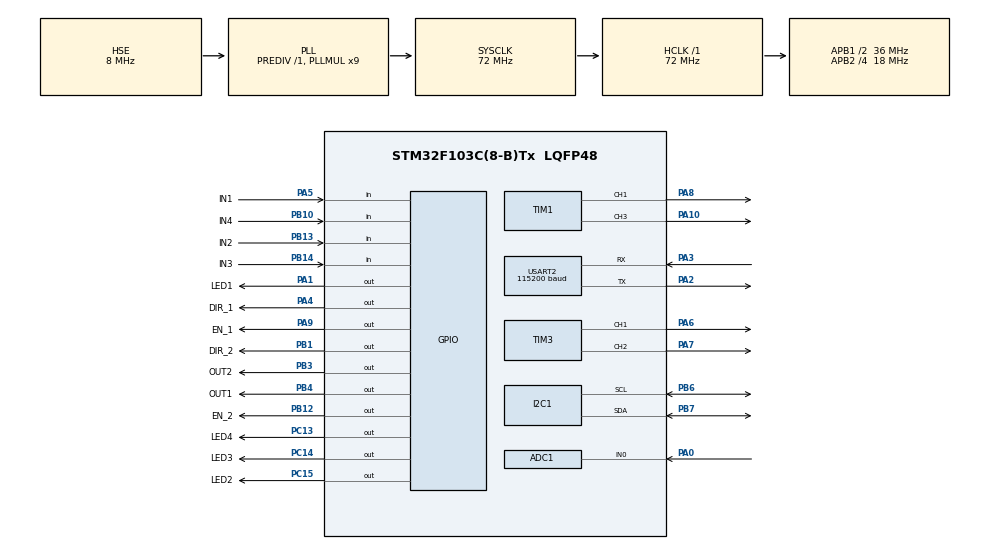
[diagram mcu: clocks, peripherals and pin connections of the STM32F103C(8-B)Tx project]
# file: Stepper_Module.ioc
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ADC1.Channel-3\#ChannelRegularConversion=ADC_CHANNEL_0
ADC1.NbrOfConversionFlag=1
ADC1.Rank-3\#ChannelRegularConversion=1
ADC1.SamplingTime-3\#ChannelRegularConversion=ADC_SAMPLETIME_1CYCLE_5
ADC1.master=1
FREERTOS.HEAP_NUMBER=4
FREERTOS.Tasks01=IOTask,24,128,StartIOTask,Default,NULL,Dynamic,NULL,NULL;UartTask,40,128,StartUartTask,Default,NULL,Dynamic,NULL,NULL;MotorTask,24,128,StartMotorTask,Default,NULL,Dynamic,NULL,NULL
FREERTOS.configTOTAL_HEAP_SIZE=3072
Mcu.Family=STM32F1
Mcu.Name=STM32F103C(8-B)Tx
Mcu.Package=LQFP48
NVIC.I2C1_ER_IRQn=true\:5\:0\:false\:false\:true\:true\:true\:true\:true
NVIC.I2C1_EV_IRQn=true\:5\:0\:false\:false\:true\:true\:true\:true\:true
NVIC.PriorityGroup=NVIC_PRIORITYGROUP_4
NVIC.RCC_IRQn=true\:5\:0\:false\:false\:true\:true\:true\:false\:true
NVIC.TIM1_BRK_IRQn=true\:5\:0\:false\:false\:true\:true\:true\:true\:true
NVIC.TIM1_CC_IRQn=true\:5\:0\:false\:false\:true\:true\:true\:true\:true
NVIC.TIM1_UP_IRQn=true\:5\:0\:false\:false\:true\:true\:true\:true\:true
NVIC.TIM2_IRQn=true\:5\:0\:false\:false\:true\:true\:true\:true\:true
NVIC.TIM3_IRQn=true\:5\:0\:false\:false\:true\:true\:true\:true\:true
NVIC.USART2_IRQn=true\:5\:0\:false\:false\:true\:true\:true\:true\:true
PA0-WKUP.Signal=ADCx_IN0
PA1.GPIO_Label=LED1
PA1.Signal=GPIO_Output
PA10.Signal=S_TIM1_CH3
PA13.Mode=Serial_Wire
PA13.Signal=SYS_JTMS-SWDIO
PA14.Mode=Serial_Wire
PA14.Signal=SYS_JTCK-SWCLK
PA2.Mode=Asynchronous
PA2.Signal=USART2_TX
PA3.Mode=Asynchronous
PA3.Signal=USART2_RX
PA4.GPIO_Label=DIR_1
PA4.Signal=GPIO_Output
PA5.GPIO_Label=IN1
PA5.Signal=GPIO_Input
PA6.Signal=S_TIM3_CH1
PA7.Signal=S_TIM3_CH2
PA8.Signal=S_TIM1_CH1
PA9.GPIO_Label=EN_1
PA9.Signal=GPIO_Output
PB1.GPIO_Label=DIR_2
PB1.Signal=GPIO_Output
PB10.GPIO_Label=IN4
PB10.Signal=GPIO_Input
PB12.GPIO_Label=EN_2
PB12.Signal=GPIO_Output
PB13.GPIO_Label=IN2
PB13.Signal=GPIO_Input
PB14.GPIO_Label=IN3
PB14.Signal=GPIO_Input
PB3.GPIO_Label=OUT2
PB3.Signal=GPIO_Output
PB4.GPIO_Label=OUT1
PB4.Signal=GPIO_Output
PB6.Mode=I2C
PB6.Signal=I2C1_SCL
PB7.Mode=I2C
PB7.Signal=I2C1_SDA
PC13-TAMPER-RTC.GPIO_Label=LED4
PC13-TAMPER-RTC.Signal=GPIO_Output
PC14-OSC32_IN.GPIO_Label=LED3
PC14-OSC32_IN.Signal=GPIO_Output
PC15-OSC32_OUT.GPIO_Label=LED2
PC15-OSC32_OUT.Signal=GPIO_Output
PD0-OSC_IN.Mode=HSE-External-Oscillator
PD0-OSC_IN.Signal=RCC_OSC_IN
PD1-OSC_OUT.Mode=HSE-External-Oscillator
PD1-OSC_OUT.Signal=RCC_OSC_OUT
ProjectManager.HeapSize=0x200
ProjectManager.StackSize=0x400
ProjectManager.TargetToolchain=STM32CubeIDE
RCC.AHBFreq_Value=72000000
RCC.APB1CLKDivider=RCC_HCLK_DIV2
RCC.APB1Freq_Value=36000000
RCC.APB1TimFreq_Value=72000000
RCC.APB2CLKDivider=RCC_HCLK_DIV4
RCC.APB2Freq_Value=18000000
RCC.APB2TimFreq_Value=36000000
RCC.HCLKFreq_Value=72000000
RCC.PLLMUL=RCC_PLL_MUL9
RCC.PLLSourceVirtual=RCC_PLLSOURCE_HSE
RCC.SYSCLKFreq_VALUE=72000000
RCC.SYSCLKSource=RCC_SYSCLKSOURCE_PLLCLK
RCC.USBFreq_Value=72000000
SH.ADCx_IN0.0=ADC1_IN0,IN0
SH.S_TIM1_CH1.0=TIM1_CH1,PWM Generation1 CH1
SH.S_TIM1_CH3.0=TIM1_CH3,PWM Generation3 CH3
SH.S_TIM3_CH1.0=TIM3_CH1,PWM Generation1 CH1
SH.S_TIM3_CH2.0=TIM3_CH2,PWM Generation2 CH2
TIM1.Channel-PWM\ Generation1\ CH1=TIM_CHANNEL_1
TIM1.Channel-PWM\ Generation3\ CH3=TIM_CHANNEL_3
TIM3.Channel-PWM\ Generation1\ CH1=TIM_CHANNEL_1
TIM3.Channel-PWM\ Generation2\ CH2=TIM_CHANNEL_2
USART2.BaudRate=115200
USART2.VirtualMode=VM_ASYNC
VP_FREERTOS_VS_CMSIS_V2.Mode=CMSIS_V2
VP_TIM1_VS_ClockSourceINT.Mode=Internal
VP_TIM2_VS_ClockSourceINT.Mode=Internal
VP_TIM3_VS_ClockSourceINT.Mode=Internal
board=custom

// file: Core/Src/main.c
/* USER CODE BEGIN Header */
/**
  ******************************************************************************
  * @file           : main.c
  * @brief          : Main program body
  ******************************************************************************
  * @attention
  *
  * Copyright (c) 2025 STMicroelectronics.
  * All rights reserved.
  *
  * This software is licensed under terms that can be found in the LICENSE file
  * in the root directory of this software component.
  * If no LICENSE file comes with this software, it is provided AS-IS.
  *
  ******************************************************************************
  */
/* USER CODE END Header */
#include "main.h"
#include "cmsis_os.h"
#include "ModbusMap.h"
#include "StepControl.h"
#include "UartModbus.h"

/* USER CODE BEGIN Includes */
#include <string.h>
/* USER CODE END Includes */

ADC_HandleTypeDef hadc1;

I2C_HandleTypeDef hi2c1;

TIM_HandleTypeDef htim1;
TIM_HandleTypeDef htim2;
TIM_HandleTypeDef htim3;

UART_HandleTypeDef huart2;
uint8_t current_baudrate = DEFAULT_CONFIG_BAUDRATE;
/* Definitions for IOTask */
osThreadId_t IOTaskHandle;
const osThreadAttr_t IOTask_attributes = {
  .name = "IOTask",
  .stack_size = 128 * 4,
  .priority = (osPriority_t) osPriorityNormal,
};
/* Definitions for UartTask */
osThreadId_t UartTaskHandle;
const osThreadAttr_t UartTask_attributes = {
  .name = "UartTask",
  .stack_size = 128 * 4,
  .priority = (osPriority_t) osPriorityHigh,
};
/* Definitions for MotorTask */
osThreadId_t MotorTaskHandle;
const osThreadAttr_t MotorTask_attributes = {
  .name = "MotorTask",
  .stack_size = 128 * 4,
  .priority = (osPriority_t) osPriorityNormal,
};
/* USER CODE BEGIN PV */
// Modbus register arrays

/* USER CODE END PV */

void SystemClock_Config(void);
static void MX_GPIO_Init(void);
static void MX_I2C1_Init(void);
static void MX_TIM2_Init(void);
static void MX_USART2_UART_Init(void);
static void MX_TIM1_Init(void);
static void MX_TIM3_Init(void);
static void MX_ADC1_Init(void);
void StartIOTask(void *argument);
void StartUartTask(void *argument);
void StartMotorTask(void *argument);

int main(void)
{

  /* MCU Configuration--------------------------------------------------------*/

  /* Reset of all peripherals, Initializes the Flash interface and the Systick. */
  HAL_Init();

  /* Configure the system clock */
  SystemClock_Config();

  /* Initialize all configured peripherals */
  MX_GPIO_Init();
  MX_I2C1_Init();
  MX_TIM2_Init();
  MX_USART2_UART_Init();
  MX_TIM1_Init();
  MX_TIM3_Init();
  MX_ADC1_Init();
  /* USER CODE BEGIN 2 */

  // Start PWM timers for motor control
  // HAL_TIM_PWM_Start(&htim1, TIM_CHANNEL_1); // Motor 1 PWM
  // HAL_TIM_PWM_Start(&htim1, TIM_CHANNEL_3);
  //HAL_TIM_PWM_Start(&htim3, TIM_CHANNEL_1);
  // Initialize global variables
  g_totalReceived = 0;
  g_corruptionCount = 0;
  g_receivedIndex = 0;

  // Initialize Modbus registers
  // for (int i = 0; i < HOLDING_REG_COUNT; i++) {
  //   g_holdingRegisters[i] = 0;
  // }
  initializeModbusRegisters();
  // Set some default values for important registers
      // Initialize other arrays
      for (int i = 0; i < INPUT_REG_COUNT; i++) {
        g_inputRegisters[i] = 0;
    }

    for (int i = 0; i < COIL_COUNT; i++) {
        g_coils[i] = 0;
    }

    for (int i = 0; i < DISCRETE_COUNT; i++) {
        g_discreteInputs[i] = 0;
    }

  // Initialize UART buffer
  memset(rxBuffer, 0, RX_BUFFER_SIZE);
  rxIndex = 0;
  frameReceived = 0;
  g_lastUARTActivity = HAL_GetTick();

  // Start UART reception
  HAL_UART_Receive_IT(&huart2, &rxBuffer[0], 1);
  /* USER CODE END 2 */

  /* Init scheduler */
  osKernelInitialize();

  /* Create the thread(s) */
  /* creation of IOTask */
  IOTaskHandle = osThreadNew(StartIOTask, NULL, &IOTask_attributes);

  /* creation of UartTask */
  UartTaskHandle = osThreadNew(StartUartTask, NULL, &UartTask_attributes);

  /* creation of MotorTask */
  MotorTaskHandle = osThreadNew(StartMotorTask, NULL, &MotorTask_attributes);

  /* Start scheduler */
  osKernelStart();

  /* We should never get here as control is now taken by the scheduler */

  /* Infinite loop */
  while (1)
  {

  }
}

void SystemClock_Config(void)
{
  RCC_OscInitTypeDef RCC_OscInitStruct = {0};
  RCC_ClkInitTypeDef RCC_ClkInitStruct = {0};
  RCC_PeriphCLKInitTypeDef PeriphClkInit = {0};

  /** Initializes the RCC Oscillators according to the specified parameters
  * in the RCC_OscInitTypeDef structure.
  */
  RCC_OscInitStruct.OscillatorType = RCC_OSCILLATORTYPE_HSE;
  RCC_OscInitStruct.HSEState = RCC_HSE_ON;
  RCC_OscInitStruct.HSEPredivValue = RCC_HSE_PREDIV_DIV1;
  RCC_OscInitStruct.HSIState = RCC_HSI_ON;
  RCC_OscInitStruct.PLL.PLLState = RCC_PLL_ON;
  RCC_OscInitStruct.PLL.PLLSource = RCC_PLLSOURCE_HSE;
  RCC_OscInitStruct.PLL.PLLMUL = RCC_PLL_MUL9;
  if (HAL_RCC_OscConfig(&RCC_OscInitStruct) != HAL_OK)
  {
    Error_Handler();
  }

  /** Initializes the CPU, AHB and APB buses clocks
  */
  RCC_ClkInitStruct.ClockType = RCC_CLOCKTYPE_HCLK|RCC_CLOCKTYPE_SYSCLK
                              |RCC_CLOCKTYPE_PCLK1|RCC_CLOCKTYPE_PCLK2;
  RCC_ClkInitStruct.SYSCLKSource = RCC_SYSCLKSOURCE_PLLCLK;
  RCC_ClkInitStruct.AHBCLKDivider = RCC_SYSCLK_DIV1;
  RCC_ClkInitStruct.APB1CLKDivider = RCC_HCLK_DIV2;
  RCC_ClkInitStruct.APB2CLKDivider = RCC_HCLK_DIV4;

  if (HAL_RCC_ClockConfig(&RCC_ClkInitStruct, FLASH_LATENCY_2) != HAL_OK)
  {
    Error_Handler();
  }
  PeriphClkInit.PeriphClockSelection = RCC_PERIPHCLK_ADC;
  PeriphClkInit.AdcClockSelection = RCC_ADCPCLK2_DIV2;
  if (HAL_RCCEx_PeriphCLKConfig(&PeriphClkInit) != HAL_OK)
  {
    Error_Handler();
  }
}

static void MX_ADC1_Init(void)
{

  ADC_ChannelConfTypeDef sConfig = {0};

  /** Common config
  */
  hadc1.Instance = ADC1;
  hadc1.Init.ScanConvMode = ADC_SCAN_DISABLE;
  hadc1.Init.ContinuousConvMode = DISABLE;
  hadc1.Init.DiscontinuousConvMode = DISABLE;
  hadc1.Init.ExternalTrigConv = ADC_SOFTWARE_START;
  hadc1.Init.DataAlign = ADC_DATAALIGN_RIGHT;
  hadc1.Init.NbrOfConversion = 1;
  if (HAL_ADC_Init(&hadc1) != HAL_OK)
  {
    Error_Handler();
  }

  /** Configure Regular Channel
  */
  sConfig.Channel = ADC_CHANNEL_0;
  sConfig.Rank = ADC_REGULAR_RANK_1;
  sConfig.SamplingTime = ADC_SAMPLETIME_1CYCLE_5;
  if (HAL_ADC_ConfigChannel(&hadc1, &sConfig) != HAL_OK)
  {
    Error_Handler();
  }

}

static void MX_I2C1_Init(void)
{

  hi2c1.Instance = I2C1;
  hi2c1.Init.ClockSpeed = 100000;
  hi2c1.Init.DutyCycle = I2C_DUTYCYCLE_2;
  hi2c1.Init.OwnAddress1 = 0;
  hi2c1.Init.AddressingMode = I2C_ADDRESSINGMODE_7BIT;
  hi2c1.Init.DualAddressMode = I2C_DUALADDRESS_DISABLE;
  hi2c1.Init.OwnAddress2 = 0;
  hi2c1.Init.GeneralCallMode = I2C_GENERALCALL_DISABLE;
  hi2c1.Init.NoStretchMode = I2C_NOSTRETCH_DISABLE;
  if (HAL_I2C_Init(&hi2c1) != HAL_OK)
  {
    Error_Handler();
  }

}

static void MX_TIM1_Init(void)
{

  TIM_ClockConfigTypeDef sClockSourceConfig = {0};
  TIM_MasterConfigTypeDef sMasterConfig = {0};
  TIM_OC_InitTypeDef sConfigOC = {0};
  TIM_BreakDeadTimeConfigTypeDef sBreakDeadTimeConfig = {0};

  htim1.Instance = TIM1;
  htim1.Init.Prescaler = 0;
  htim1.Init.CounterMode = TIM_COUNTERMODE_UP;
  htim1.Init.Period = 65535;
  htim1.Init.ClockDivision = TIM_CLOCKDIVISION_DIV1;
  htim1.Init.RepetitionCounter = 0;
  htim1.Init.AutoReloadPreload = TIM_AUTORELOAD_PRELOAD_DISABLE;
  if (HAL_TIM_Base_Init(&htim1) != HAL_OK)
  {
    Error_Handler();
  }
  sClockSourceConfig.ClockSource = TIM_CLOCKSOURCE_INTERNAL;
  if (HAL_TIM_ConfigClockSource(&htim1, &sClockSourceConfig) != HAL_OK)
  {
    Error_Handler();
  }
  if (HAL_TIM_PWM_Init(&htim1) != HAL_OK)
  {
    Error_Handler();
  }
  sMasterConfig.MasterOutputTrigger = TIM_TRGO_RESET;
  sMasterConfig.MasterSlaveMode = TIM_MASTERSLAVEMODE_DISABLE;
  if (HAL_TIMEx_MasterConfigSynchronization(&htim1, &sMasterConfig) != HAL_OK)
  {
    Error_Handler();
  }
  sConfigOC.OCMode = TIM_OCMODE_PWM1;
  sConfigOC.Pulse = 0;
  sConfigOC.OCPolarity = TIM_OCPOLARITY_HIGH;
  sConfigOC.OCNPolarity = TIM_OCNPOLARITY_HIGH;
  sConfigOC.OCFastMode = TIM_OCFAST_DISABLE;
  sConfigOC.OCIdleState = TIM_OCIDLESTATE_RESET;
  sConfigOC.OCNIdleState = TIM_OCNIDLESTATE_RESET;
  if (HAL_TIM_PWM_ConfigChannel(&htim1, &sConfigOC, TIM_CHANNEL_1) != HAL_OK)
  {
    Error_Handler();
  }
  if (HAL_TIM_PWM_ConfigChannel(&htim1, &sConfigOC, TIM_CHANNEL_3) != HAL_OK)
  {
    Error_Handler();
  }
  sBreakDeadTimeConfig.OffStateRunMode = TIM_OSSR_DISABLE;
  sBreakDeadTimeConfig.OffStateIDLEMode = TIM_OSSI_DISABLE;
  sBreakDeadTimeConfig.LockLevel = TIM_LOCKLEVEL_OFF;
  sBreakDeadTimeConfig.DeadTime = 0;
  sBreakDeadTimeConfig.BreakState = TIM_BREAK_DISABLE;
  sBreakDeadTimeConfig.BreakPolarity = TIM_BREAKPOLARITY_HIGH;
  sBreakDeadTimeConfig.AutomaticOutput = TIM_AUTOMATICOUTPUT_DISABLE;
  if (HAL_TIMEx_ConfigBreakDeadTime(&htim1, &sBreakDeadTimeConfig) != HAL_OK)
  {
    Error_Handler();
  }
  HAL_TIM_MspPostInit(&htim1);

}

static void MX_TIM2_Init(void)
{

  TIM_ClockConfigTypeDef sClockSourceConfig = {0};
  TIM_MasterConfigTypeDef sMasterConfig = {0};

  htim2.Instance = TIM2;
  htim2.Init.Prescaler = 0;
  htim2.Init.CounterMode = TIM_COUNTERMODE_UP;
  htim2.Init.Period = 65535;
  htim2.Init.ClockDivision = TIM_CLOCKDIVISION_DIV1;
  htim2.Init.AutoReloadPreload = TIM_AUTORELOAD_PRELOAD_DISABLE;
  if (HAL_TIM_Base_Init(&htim2) != HAL_OK)
  {
    Error_Handler();
  }
  sClockSourceConfig.ClockSource = TIM_CLOCKSOURCE_INTERNAL;
  if (HAL_TIM_ConfigClockSource(&htim2, &sClockSourceConfig) != HAL_OK)
  {
    Error_Handler();
  }
  sMasterConfig.MasterOutputTrigger = TIM_TRGO_RESET;
  sMasterConfig.MasterSlaveMode = TIM_MASTERSLAVEMODE_DISABLE;
  if (HAL_TIMEx_MasterConfigSynchronization(&htim2, &sMasterConfig) != HAL_OK)
  {
    Error_Handler();
  }

}

static void MX_TIM3_Init(void)
{

  TIM_ClockConfigTypeDef sClockSourceConfig = {0};
  TIM_MasterConfigTypeDef sMasterConfig = {0};
  TIM_OC_InitTypeDef sConfigOC = {0};

  htim3.Instance = TIM3;
  htim3.Init.Prescaler = 0;
  htim3.Init.CounterMode = TIM_COUNTERMODE_UP;
  htim3.Init.Period = 65535;
  htim3.Init.ClockDivision = TIM_CLOCKDIVISION_DIV1;
  htim3.Init.AutoReloadPreload = TIM_AUTORELOAD_PRELOAD_DISABLE;
  if (HAL_TIM_Base_Init(&htim3) != HAL_OK)
  {
    Error_Handler();
  }
  sClockSourceConfig.ClockSource = TIM_CLOCKSOURCE_INTERNAL;
  if (HAL_TIM_ConfigClockSource(&htim3, &sClockSourceConfig) != HAL_OK)
  {
    Error_Handler();
  }
  if (HAL_TIM_PWM_Init(&htim3) != HAL_OK)
  {
    Error_Handler();
  }
  sMasterConfig.MasterOutputTrigger = TIM_TRGO_RESET;
  sMasterConfig.MasterSlaveMode = TIM_MASTERSLAVEMODE_DISABLE;
  if (HAL_TIMEx_MasterConfigSynchronization(&htim3, &sMasterConfig) != HAL_OK)
  {
    Error_Handler();
  }
  sConfigOC.OCMode = TIM_OCMODE_PWM1;
  sConfigOC.Pulse = 0;
  sConfigOC.OCPolarity = TIM_OCPOLARITY_HIGH;
  sConfigOC.OCFastMode = TIM_OCFAST_DISABLE;
  if (HAL_TIM_PWM_ConfigChannel(&htim3, &sConfigOC, TIM_CHANNEL_1) != HAL_OK)
  {
    Error_Handler();
  }
  if (HAL_TIM_PWM_ConfigChannel(&htim3, &sConfigOC, TIM_CHANNEL_2) != HAL_OK)
  {
    Error_Handler();
  }
  HAL_TIM_MspPostInit(&htim3);

}

static void MX_USART2_UART_Init(void)
{

  huart2.Instance = USART2;
  huart2.Init.BaudRate = 115200;
  huart2.Init.WordLength = UART_WORDLENGTH_8B;
  huart2.Init.StopBits = UART_STOPBITS_1;
  huart2.Init.Parity = UART_PARITY_NONE;
  huart2.Init.Mode = UART_MODE_TX_RX;
  huart2.Init.HwFlowCtl = UART_HWCONTROL_NONE;
  huart2.Init.OverSampling = UART_OVERSAMPLING_16;
  if (HAL_UART_Init(&huart2) != HAL_OK)
  {
    Error_Handler();
  }

}

static void MX_GPIO_Init(void)
{
  GPIO_InitTypeDef GPIO_InitStruct = {0};

  /* GPIO Ports Clock Enable */
  __HAL_RCC_GPIOC_CLK_ENABLE();
  __HAL_RCC_GPIOD_CLK_ENABLE();
  __HAL_RCC_GPIOA_CLK_ENABLE();
  __HAL_RCC_GPIOB_CLK_ENABLE();

  /*Configure GPIO pin Output Level */
  HAL_GPIO_WritePin(GPIOC, LED4_Pin|LED3_Pin|LED2_Pin, GPIO_PIN_RESET);

  /*Configure GPIO pin Output Level */
  HAL_GPIO_WritePin(GPIOA, LED1_Pin|DIR_1_Pin|EN_1_Pin, GPIO_PIN_RESET);

  /*Configure GPIO pin Output Level */
  HAL_GPIO_WritePin(GPIOB, DIR_2_Pin|EN_2_Pin|OUT2_Pin|OUT1_Pin, GPIO_PIN_RESET);

  /*Configure GPIO pins : LED4_Pin LED3_Pin LED2_Pin */
  GPIO_InitStruct.Pin = LED4_Pin|LED3_Pin|LED2_Pin;
  GPIO_InitStruct.Mode = GPIO_MODE_OUTPUT_PP;
  GPIO_InitStruct.Pull = GPIO_NOPULL;
  GPIO_InitStruct.Speed = GPIO_SPEED_FREQ_LOW;
  HAL_GPIO_Init(GPIOC, &GPIO_InitStruct);

  /*Configure GPIO pins : LED1_Pin DIR_1_Pin EN_1_Pin */
  GPIO_InitStruct.Pin = LED1_Pin|DIR_1_Pin|EN_1_Pin;
  GPIO_InitStruct.Mode = GPIO_MODE_OUTPUT_PP;
  GPIO_InitStruct.Pull = GPIO_NOPULL;
  GPIO_InitStruct.Speed = GPIO_SPEED_FREQ_LOW;
  HAL_GPIO_Init(GPIOA, &GPIO_InitStruct);

  /*Configure GPIO pin : IN1_Pin */
  GPIO_InitStruct.Pin = IN1_Pin;
  GPIO_InitStruct.Mode = GPIO_MODE_INPUT;
  GPIO_InitStruct.Pull = GPIO_NOPULL;
  HAL_GPIO_Init(IN1_GPIO_Port, &GPIO_InitStruct);

  /*Configure GPIO pins : DIR_2_Pin EN_2_Pin OUT2_Pin OUT1_Pin */
  GPIO_InitStruct.Pin = DIR_2_Pin|EN_2_Pin|OUT2_Pin|OUT1_Pin;
  GPIO_InitStruct.Mode = GPIO_MODE_OUTPUT_PP;
  GPIO_InitStruct.Pull = GPIO_NOPULL;
  GPIO_InitStruct.Speed = GPIO_SPEED_FREQ_LOW;
  HAL_GPIO_Init(GPIOB, &GPIO_InitStruct);

  /*Configure GPIO pins : IN4_Pin IN2_Pin IN3_Pin */
  GPIO_InitStruct.Pin = IN4_Pin|IN2_Pin|IN3_Pin;
  GPIO_InitStruct.Mode = GPIO_MODE_INPUT;
  GPIO_InitStruct.Pull = GPIO_NOPULL;
  HAL_GPIO_Init(GPIOB, &GPIO_InitStruct);

}

void StartIOTask(void *argument)
{
  for(;;)
  {
  }
}

void StartUartTask(void *argument)
{
  /* USER CODE BEGIN StartUartTask */
  /* Infinite loop */
  for(;;)
  {
    // Update Modbus counter
    g_modbusCounter++;

    // Check for UART timeout (10 seconds)
    if (HAL_GetTick() - g_lastUARTActivity > 10000) {
      resetUARTCommunication();
      g_lastUARTActivity = HAL_GetTick();
    }

    // Process Modbus frame if received
    if (frameReceived) {
      processModbusFrame();
    }

    osDelay(100); // 100ms delay
  }
  /* USER CODE END StartUartTask */
}

void StartMotorTask(void *argument)
{
  const uint16_t M1_BASE_ADDR = 0x0000;
  const uint16_t M2_BASE_ADDR = 0x0010;
  // Initialize PID controllers with default values

  // Vòng lặp RTOS
  for (;;)
  {
      // 1. Load dữ liệu từ Modbus registers
      MotorRegisters_Load(&motor1, M1_BASE_ADDR);
      MotorRegisters_Load(&motor2, M2_BASE_ADDR);
      updateBaudrate();
      // 2. Xử lý logic điều khiển motor 1
      Motor_ProcessControl(&motor1);

      // 3. Xử lý logic điều khiển motor 2
      Motor_ProcessControl(&motor2);

      // 4. Save lại dữ liệu ngược ra Modbus registers
      MotorRegisters_Save(&motor1, M1_BASE_ADDR);
      MotorRegisters_Save(&motor2, M2_BASE_ADDR);

      // 5. Delay theo chu kỳ task (ví dụ 10ms)
      osDelay(10);
  }
}

void Error_Handler(void)
{
  __disable_irq();
  while (1)
  {
  }
}
